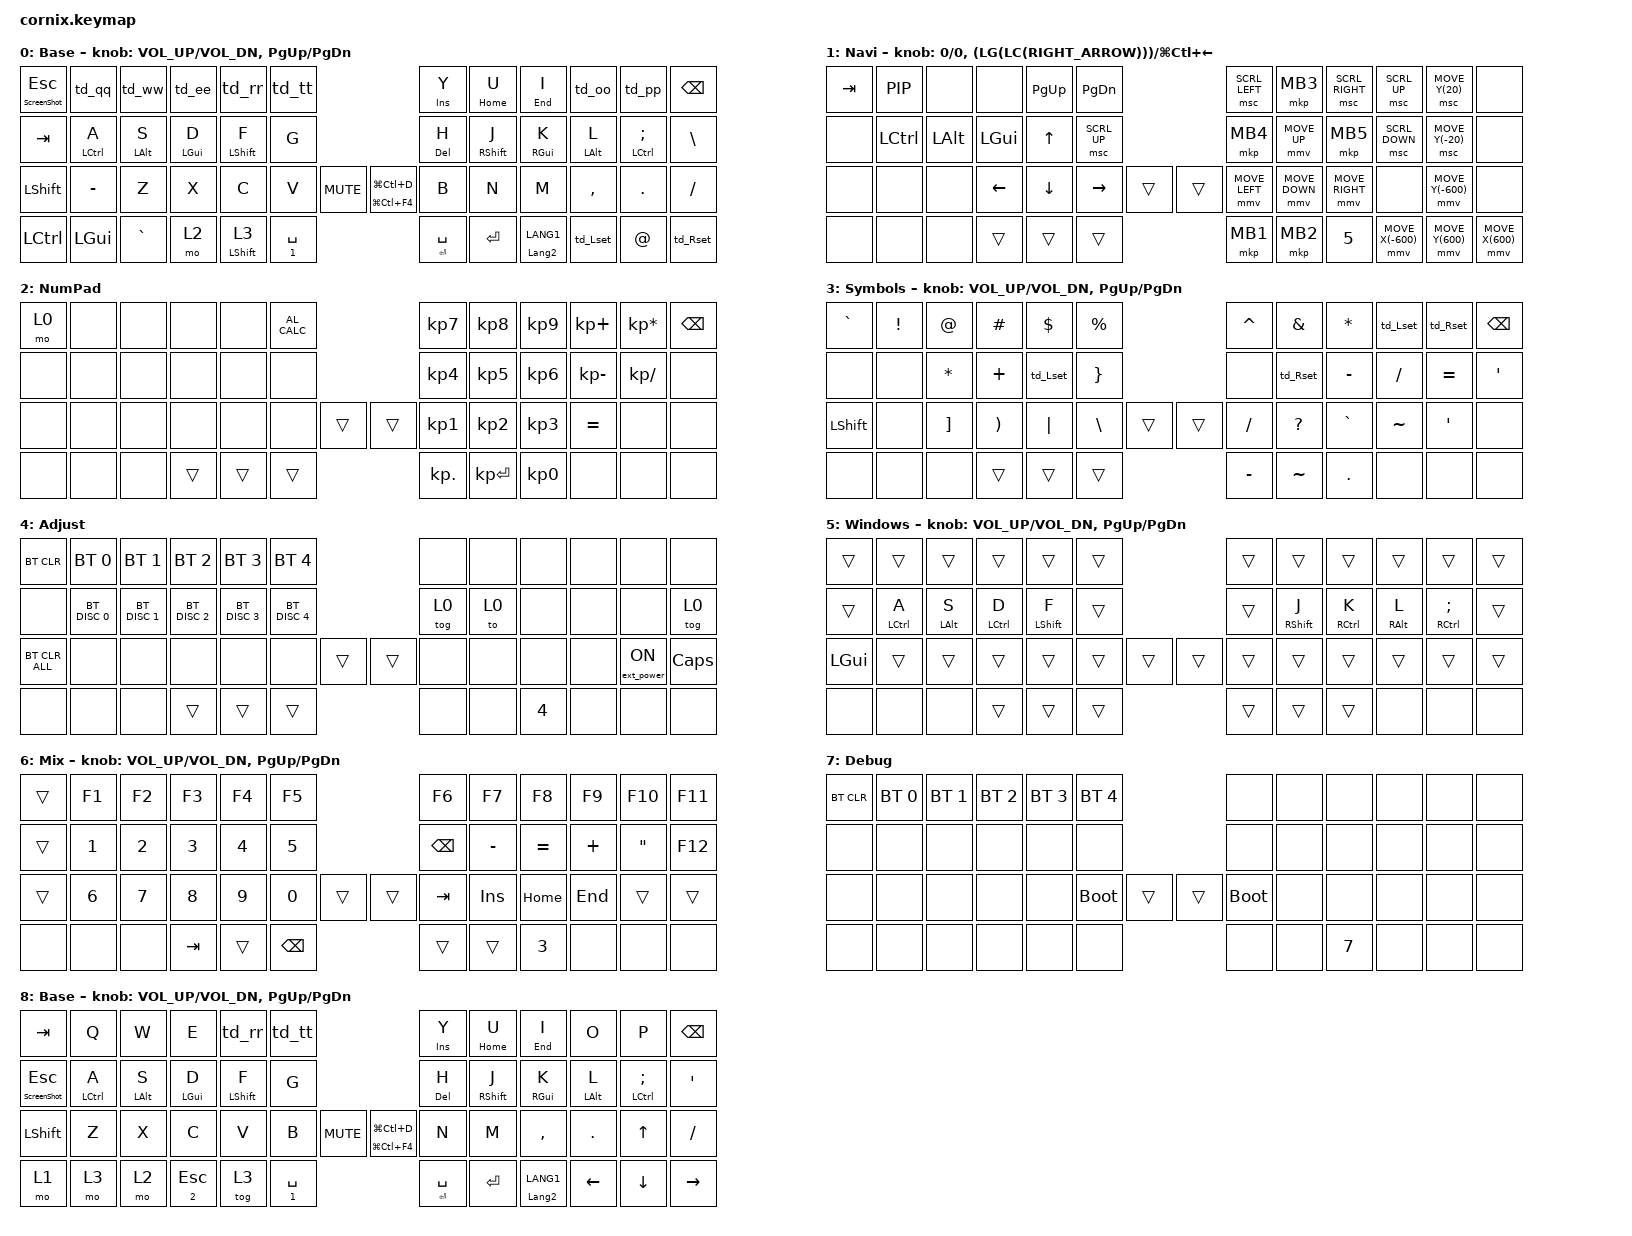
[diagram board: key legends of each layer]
/*
 * Copyright (c) 2020 The ZMK Contributors
 *
 * SPDX-License-Identifier: MIT
 */

#include "zmk-helpers/helper.h"
#include "includes/cornix54.h"

// tap windows for ctl alt and gui

#define HM_TAPPING_TERM 250
#define HM_TAPPING_REPEAT 210

// quick tapping for shift

#define HM_TAPPING_TERM_FAST 200
#define HM_PRIOR_IDLE 70
#define BASE 0
#define WIN 1
#define LOWER 2
#define RAISE 3
#define ADJUST 4
#define NAVI   5
#define NUM    6
#define DEBUG  7

// https://github.com/urob/zmk-config/tree/main#timeless-homerow-mods

#define KEYS_L LT0 LT1 LT2 LT3 LT4 LT5 LM0 LM1 LM2 LM3 LM4 LM5 LB0 LB1 LB2 LB3 LB4 LB5  // left hand
#define KEYS_R RT0 RT1 RT2 RT3 RT4 RT5 RM0 RM1 RM2 RM3 RM4 RM5 RB0 RB1 RB2 RB3 RB4 RB5  // right hand
#define THUMBS LH1 LH0 RH0 RH1
#define KEYS_T LH1 LH0 RH0 RH1
#define ZMK_POINTING_DEFAULT_MOVE_VAL 1200
#define ZMK_POINTING_DEFAULT_SCRL_VAL 15

#include <behaviors.dtsi>
#include <dt-bindings/zmk/bt.h>
#include <dt-bindings/zmk/ext_power.h>
#include <dt-bindings/zmk/keys.h>
#include <dt-bindings/zmk/pointing.h>

/ {
    // Activate ADJUST layer by pressing raise and lower

    behaviors {
        hm_l: homerow_mods_left {
            compatible = "zmk,behavior-hold-tap";
            #binding-cells = <2>;
            bindings = <&kp>, <&kp>;

            flavor = "balanced";
            tapping-term-ms = <HM_TAPPING_TERM>;
            quick-tap-ms = <200>;                // repeat on tap-into-hold
            require-prior-idle-ms = <200>;
            hold-trigger-on-release;
        };

        hm_r: homerow_mods_right {
            compatible = "zmk,behavior-hold-tap";
            #binding-cells = <2>;
            bindings = <&kp>, <&kp>;

            flavor = "balanced";
            tapping-term-ms = <HM_TAPPING_TERM>;
            quick-tap-ms = <200>;
            require-prior-idle-ms = <200>;
            hold-trigger-key-positions = <KEYS_L KEYS_T>;
            hold-trigger-on-release;
        };

        // Positional Homerow mods for shift
        // Use faster tapping term and disable some features that may
        // cause false negatives.

        hm_shift_l: hm_shift_l {
            compatible = "zmk,behavior-hold-tap";
            #binding-cells = <2>;
            bindings = <&kp>, <&kp>;

            //flavor = "balanced";

            flavor = "balanced";
            tapping-term-ms = <HM_TAPPING_TERM_FAST>;
            quick-tap-ms = <200>;
            require-prior-idle-ms = <200>;
            hold-trigger-key-positions = <KEYS_R KEYS_T>;
            hold-trigger-on-release;
            retro-tap;
        };

        hm_shift_r: hm_shift_r {
            compatible = "zmk,behavior-hold-tap";
            #binding-cells = <2>;
            bindings = <&kp>, <&kp>;

            flavor = "balanced";
            tapping-term-ms = <HM_TAPPING_TERM_FAST>;
            quick-tap-ms = <200>;
            require-prior-idle-ms = <200>;
            hold-trigger-key-positions = <KEYS_L KEYS_T>;

            // for quick tapping; shift+~

            hold-trigger-on-release;
            retro-tap;
        };

        /*
         * Non-Positional Homerow Mods
         * Used for &mm_grescm_gui behavior on left hand.
         *
         * Usage: &hm LSHFT T
         * Tap: T
         * Tap-Tap-Hold: Repeat T
         * Hold: LSHIFT
         */

        hm: homerow_mods {
            compatible = "zmk,behavior-hold-tap";
            #binding-cells = <2>;
            bindings = <&kp>, <&kp>;

            flavor = "balanced";
            tapping-term-ms = <HM_TAPPING_TERM>;
            quick-tap-ms = <200>;
            require-prior-idle-ms = <200>;
            hold-trigger-on-release;
        };

        lt: layer_tap {
            compatible = "zmk,behavior-hold-tap";
            #binding-cells = <2>;
            bindings = <&mo>, <&kp>;

            flavor = "hold-preferred";
            tapping-term-ms = <HM_TAPPING_TERM>;
            quick-tap-ms = <200>;
        };

        hm_screen: hm_screen {
            compatible = "zmk,behavior-hold-tap";
            label = "HM_SCREEN";
            bindings = <&ScreenShot>, <&kp>;

            #binding-cells = <2>;
            quick-tap-ms = <200>;
            tapping-term-ms = <200>;
            flavor = "balanced";
            require-prior-idle-ms = <200>;
            hold-trigger-on-release;
        };

        flip_toggle: flip_toggle {
            compatible = "zmk,behavior-key-toggle";
            label = "FLIP_TOGGLE";
            #binding-cells = <1>;
            toggle-mode = "flip";
        };

        hm_flip_layer: hm_flip_layer {
            compatible = "zmk,behavior-hold-tap";
            label = "HM_FLIP_LAYER";
            #binding-cells = <2>;
            quick-tap-ms = <200>;
            tapping-term-ms = <200>;
            bindings = <&flip_layer>, <&kp>;

            require-prior-idle-ms = <200>;
            hold-trigger-on-release;
            flavor = "balanced";
        };

        flip_layer: flip_layer {
            compatible = "zmk,behavior-toggle-layer";
            label = "FLIP_LAYER";
            #binding-cells = <1>;
            toggle-mode = "flip";
        };

        hm_sl: hm_sl {
            compatible = "zmk,behavior-hold-tap";
            label = "HM_SL";
            bindings = <&kp>, <&sl>;

            #binding-cells = <2>;
            tapping-term-ms = <200>;
            quick-tap-ms = <200>;
            retro-tap;
            require-prior-idle-ms = <200>;
            hold-trigger-on-release;
            flavor = "balanced";
        };

        td_qq: td_qq {
            compatible = "zmk,behavior-tap-dance";
            label = "TD_QQ";
            #binding-cells = <0>;
            bindings = <&kp Q>, <&kp LS(Q)>;
        };

        td_ww: td_ww {
            compatible = "zmk,behavior-tap-dance";
            label = "TD_WW";
            #binding-cells = <0>;
            bindings = <&kp W>, <&kp LS(W)>;
        };

        td_rr: td_rr {
            compatible = "zmk,behavior-tap-dance";
            label = "TD_RR";
            #binding-cells = <0>;
            bindings = <&kp R>, <&kp LS(R)>;
        };

        td_tt: td_tt {
            compatible = "zmk,behavior-tap-dance";
            label = "TD_TT";
            #binding-cells = <0>;
            bindings = <&kp T>, <&kp LS(T)>;
        };

        td_ee: td_ee {
            compatible = "zmk,behavior-tap-dance";
            label = "TD_EE";
            #binding-cells = <0>;
            bindings = <&kp E>, <&kp LS(E)>;
        };

        td_oo: td_oo {
            compatible = "zmk,behavior-tap-dance";
            label = "TD_OO";
            #binding-cells = <0>;
            bindings = <&kp O>, <&kp LS(O)>;
        };

        td_pp: td_pp {
            compatible = "zmk,behavior-tap-dance";
            label = "TD_PP";
            #binding-cells = <0>;
            bindings = <&kp P>, <&kp LS(P)>;
        };

        td_Lset: td_Lset {
            compatible = "zmk,behavior-tap-dance";
            label = "TD_LSET";
            #binding-cells = <0>;
            bindings = <&kp LPAR>, <&kp LBRC>, <&kp LEFT_BRACKET>;
        };

        td_Rset: td_Rset {
            compatible = "zmk,behavior-tap-dance";
            label = "TD_RSET";
            #binding-cells = <0>;
            bindings = <&kp RPAR>, <&kp RBRC>, <&kp RBKT>;
        };

        hm_mo_layer: hm_mo_layer {
            compatible = "zmk,behavior-hold-tap";
            label = "HM_MO_LAYER";
            bindings = <&mo>, <&kp>;

            #binding-cells = <2>;
            tapping-term-ms = <200>;
            quick-tap-ms = <200>;
            retro-tap;
        };
    };

    conditional_layers {
        compatible = "zmk,conditional-layers";

        adjust_layer {
            if-layers = <1 2>;
            then-layer = <4>;
        };
    };

    combos {
        compatible = "zmk,combos";

        cb_ltm {
            bindings = <&kp ESC>;
            key-positions = <2 4>;
            layers = <0 6>;
        };

        cb_lm {
            bindings = <&kp TAB>;
            key-positions = <14 16>;
            layers = <0 6>;
        };

        cb_enter {
            bindings = <&kp RET>;
            key-positions = <21 19>;
            layers = <0 6>;
        };

        layer4 {
            bindings = <&tog 4>;
            key-positions = <30 31>;
            layers = <0 1 2 3>;
        };

        alt_f4 {
            bindings = <&kp LA(F4)>;
            key-positions = <43 44>;
            layers = <0>;
        };
    };

    macros {
        KeyMap: KeyMap {
            compatible = "zmk,behavior-macro";
            #binding-cells = <0>;
            bindings = <&kp H &kp T &kp T &kp P &kp S &kp COLON &kp FSLH &kp FSLH &kp N &kp I &kp C &kp K &kp C &kp O &kp U &kp T &kp S &kp O &kp S &kp DOT &kp G &kp I &kp T &kp H &kp U &kp B &kp DOT &kp I &kp O &kp FSLH &kp K &kp E &kp Y &kp M &kp A &kp P &kp MINUS &kp E &kp D &kp I &kp T &kp O &kp R &kp FSLH>;
            label = "KEY_MAP";
        };

        ScreenShot: ScreenShot {
            compatible = "zmk,behavior-macro";
            #binding-cells = <0>;
            bindings = <&kt LG(LS(S))>;
            label = "SCREENSHOT";
        };
    };

    keymap {
        compatible = "zmk,keymap";

        default_layer {
            display-name = "Base";

            // ------------------------------------------------------------------------------------------------------------
            // |   `   |  1  |  2  |  3   |  4   |  5   |                   |  6   |  7    |  8    |  9   |   0   |       |
            // |  ESC  |  Q  |  W  |  E   |  R   |  T   |                   |  Y   |  U    |  I    |  O   |   P   | BKSPC |
            // |  TAB  |  A  |  S  |  D   |  F   |  G   |                   |  H   |  J    |  K    |  L   |   ;   |   '   |
            // | SHIFT |  Z  |  X  |  C   |  V   |  B   |  MUTE  |  |       |  N   |  M    |  ,    |  .   |   /   | SHIFT |
            //               | GUI | ALT  | CTRL | LOWER|  ENTER |  | SPACE | RAISE| CTRL  | ALT   | GUI  |

            bindings = <
&hm_screen 0 ESCAPE  &td_qq               &td_ww              &td_ee        &td_rr               &td_tt                                                        &hm INSERT Y     &hm HOME U           &hm END I             &td_oo                  &td_pp                              &kp BACKSPACE
&kp TAB              &hm_shift_l LCTRL A  &hm_shift_l LALT S  &hm_l LGUI D  &hm_shift_l LSHFT F  &kp G                                                         &hm DELETE H     &hm_shift_r RSHFT J  &hm_r RGUI K          &hm_shift_r LEFT_ALT L  &hm_shift_r LEFT_CONTROL SEMICOLON  &kp BACKSLASH
&kp LEFT_SHIFT       &kp MINUS            &kp Z               &kp X         &kp C                &kp V                   &kp C_MUTE  &hm LG(LC(F4)) LG(LC(D))  &kp B            &kp N                &kp M                 &kp COMMA               &kp DOT                             &kp SLASH
&kp LCTRL            &kp LEFT_GUI         &kp GRAVE           &mo 2         &hm_sl LEFT_SHIFT 3  &hm_flip_layer 1 SPACE                                        &hm ENTER SPACE  &kp ENTER            &hm LANGUAGE_2 LANG1  &td_Lset                &kp AT                              &td_Rset
            >;

            sensor-bindings = <&inc_dec_kp C_VOL_UP C_VOL_DN &inc_dec_kp PG_UP PG_DN>;
        };

        Navi_layer {
            display-name = "Navi";
            bindings = <
&kp TAB  &kp C_PIP         &none         &none           &kp PAGE_UP     &kp PAGE_DOWN                    &msc SCRL_LEFT  &mkp MB3        &msc SCRL_RIGHT  &msc SCRL_UP       &msc MOVE_Y(20)    &none
&none    &kp LEFT_CONTROL  &kp LEFT_ALT  &kp LEFT_GUI    &kp UP_ARROW    &msc SCRL_UP                     &mkp MB4        &mmv MOVE_UP    &mkp MB5         &msc SCRL_DOWN     &msc MOVE_Y(-20)   &none
&none    &none             &none         &kp LEFT_ARROW  &kp DOWN_ARROW  &kp RIGHT_ARROW  &trans  &trans  &mmv MOVE_LEFT  &mmv MOVE_DOWN  &mmv MOVE_RIGHT  &none              &mmv MOVE_Y(-600)  &none
&none    &none             &none         &trans          &trans          &trans                           &mkp MB1        &mkp MB2        &kp N5           &mmv MOVE_X(-600)  &mmv MOVE_Y(600)   &mmv MOVE_X(600)
            >;

            sensor-bindings =
                <&inc_dec_kp 0 0>,
                <&inc_dec_kp (LG(LC(RIGHT_ARROW))) LG(LC(LEFT_ARROW))>;
        };

        KeyPad_layer {
            display-name = "NumPad";
            bindings = <
&mo 0  &none  &none  &none   &none   &kp C_AL_CALC                  &kp KP_N7        &kp KP_N8        &kp KP_N9        &kp KP_PLUS   &kp KP_MULTIPLY  &kp BACKSPACE
&none  &none  &none  &none   &none   &none                          &kp KP_NUMBER_4  &kp KP_NUMBER_5  &kp KP_N6        &kp KP_MINUS  &kp KP_DIVIDE    &none
&none  &none  &none  &none   &none   &none          &trans  &trans  &kp KP_NUMBER_1  &kp KP_NUMBER_2  &kp KP_N3        &kp EQUAL     &none            &none
&none  &none  &none  &trans  &trans  &trans                         &kp KP_DOT       &kp KP_ENTER     &kp KP_NUMBER_0  &none         &none            &none
            >;
        };

        Symbol_layer {
            display-name = "Symbols";

            // TODO: Some binds are waiting for shifted keycode support.
            // -------------------------------
            // |       |  F1 |  F2 |  F3  |  F4  |  F5  |                   |  F6  |  F7   |  F8   |  F9  |  F10  |  F11  |
            // |   `   |  1  |  2  |  3   |  4   |  5   |                   |  6   |  7    |  8    |  9   |   0   |  F12  |
            // |       |  !  |  @  |  #   |  $   |  %   |                   |  ^   |  &    |  *    |  (   |   )   |   |   |
            // |       |  =  |  -  |  +   |  {   |  }   |        |  |       |  [   |  ]    |  ;    |  :   |   \   |       |
            //               |     |      |      |      |        |  |       |      |       |       |      |

            bindings = <
&kp GRAVE       &kp EXCL  &kp AT    &kp HASH  &kp DLLR  &kp PRCNT                  &kp CARET  &kp AMPS      &kp ASTRK  &td_Lset   &td_Rset   &kp BACKSPACE
&none           &none     &kp STAR  &kp PLUS  &td_Lset  &kp RBRC                   &none      &td_Rset      &kp MINUS  &kp SLASH  &kp EQUAL  &kp SQT
&kp LEFT_SHIFT  &none     &kp RBKT  &kp RPAR  &kp PIPE  &kp BSLH   &trans  &trans  &kp FSLH   &kp QUESTION  &kp GRAVE  &kp TILDE  &kp SQT    &none
&none           &none     &none     &trans    &trans    &trans                     &kp MINUS  &kp TILDE     &kp DOT    &none      &none      &none
            >;

            sensor-bindings = <&inc_dec_kp C_VOL_UP C_VOL_DN &inc_dec_kp PG_UP PG_DN>;
        };

        Adjust_layer {
            display-name = "Adjust";

            // ----------------------------------------------------------------------------------------------------------------------------
            // | BTCLR  |  BT1    |  BT2    |   BT3   |   BT4   |   BT5   |                  |      |      |       |      |       |       |
            // | moDEBUG| RGB_HUD | RGB_HUI | RGB_SAD | RGB_SAI | RGB_EFF |                  |      |      |       |      |       |       |
            // | EXTPWR | RGB_BRD | RGB_BRI |         |         |         |                  |      |      |       |      |       |       |
            // |        |         |         |         |         |         | RGB_TOG | |      |      |      |       |      |       |       |
            //                    |         |         |         |         |         | |      |      |      |       |      |

            bindings = <
&bt BT_CLR      &bt BT_SEL 0   &bt BT_SEL 1   &bt BT_SEL 2   &bt BT_SEL 3   &bt BT_SEL 4                   &none   &none  &none   &none  &none             &none
&none           &bt BT_DISC 0  &bt BT_DISC 1  &bt BT_DISC 2  &bt BT_DISC 3  &bt BT_DISC 4                  &tog 0  &to 0  &none   &none  &none             &tog 0
&bt BT_CLR_ALL  &none          &none          &none          &none          &none          &trans  &trans  &none   &none  &none   &none  &ext_power EP_ON  &kp CAPSLOCK
&none           &none          &none          &trans         &trans         &trans                         &none   &none  &kp N4  &none  &none             &none
            >;
        };

        win_layer {
            display-name = "Windows";

            // ------------------------------------------------------------------------------------------------------------
            // |   `   |  1  |  2  |  3   |  4   |  5   |                   |  6   |  7    |  8    |  9   |   0   |       |
            // |  ESC  |  Q  |  W  |  E   |  R   |  T   |                   |  Y   |  U    |  I    |  O   |   P   | BKSPC |
            // |  TAB  |  A  |  S  |  D   |  F   |  G   |                   |  H   |  J    |  K    |  L   |   ;   |   '   |
            // | SHIFT |  Z  |  X  |  C   |  V   |  B   |  MUTE  |  |       |  N   |  M    |  ,    |  .   |   /   | SHIFT |
            //               | GUI | ALT  | CTRL | LOWER|  ENTER |  | SPACE | RAISE| CTRL  | ALT   | GUI  |

            bindings = <
&trans    &trans         &trans        &trans         &trans               &trans                  &trans  &trans               &trans         &trans        &trans            &trans
&trans    &hm_l LCTRL A  &hm_l LALT S  &hm_l LCTRL D  &hm_shift_l LSHFT F  &trans                  &trans  &hm_shift_r RSHFT J  &hm_r RCTRL K  &hm_r RALT L  &hm_r RCTRL SEMI  &trans
&kp LGUI  &trans         &trans        &trans         &trans               &trans  &trans  &trans  &trans  &trans               &trans         &trans        &trans            &trans
&none     &none          &none         &trans         &trans               &trans                  &trans  &trans               &trans         &none         &none             &none
            >;

            sensor-bindings = <&inc_dec_kp C_VOL_UP C_VOL_DN &inc_dec_kp PG_UP PG_DN>;
        };

        Mix_layer {
            display-name = "Mix";

            // ------------------------------------------------------------------------------------------------------------
            // | BTCLR | BT1  | BT2  |  BT3  |  BT4  |  BT5 |                |      |      |       |      |       |       |
            // |       | INS  | PSCR | GUI   |       |      |                | PGUP |      |   ^   |      |       |       |
            // |       | ALT  | CTRL | SHIFT |       | CAPS |                | PGDN |   <- |   v   |  ->  |  DEL  | BKSPC |
            // |       | UNDO | CUT  | COPY  | PASTE |      |      |  |      |      |      |       |      |       |       |
            //                |      |       |       |      |      |  |      |      |      |       |      |

            bindings = <
&trans  &kp F1  &kp F2  &kp F3   &kp F4  &kp F5                         &kp F6    &kp F7     &kp F8     &kp F9    &kp F10  &kp F11
&trans  &kp N1  &kp N2  &kp N3   &kp N4  &kp N5                         &kp BSPC  &kp MINUS  &kp EQUAL  &kp PLUS  &kp DQT  &kp F12
&trans  &kp N6  &kp N7  &kp N8   &kp N9  &kp N0         &trans  &trans  &kp TAB   &kp INS    &kp HOME   &kp END   &trans   &trans
&none   &none   &none   &kp TAB  &trans  &kp BACKSPACE                  &trans    &trans     &kp N3     &none     &none    &none
            >;

            sensor-bindings = <&inc_dec_kp C_VOL_UP C_VOL_DN &inc_dec_kp PG_UP PG_DN>;
        };

        Debug_layer {
            display-name = "Debug";

            // ----------------------------------------------------------------------------------------------------------------------------
            // | BTCLR  |  BT1    |  BT2    |   BT3   |   BT4   |   BT5   |                  |      |      |       |      |       |       |
            // | EXTPWR | BTCLR | RGB_HUI | RGB_SAD | RGB_SAI | RGB_EFF |                  |      |      |       |      |       |       |
            // |        | RGB_BRD | RGB_BRI |         |         |         |                  |      |      |       |      |       |       |
            // |        |         |         |         |         |         | RGB_TOG | |      |      |      |       |      |       |       |
            //                    |         |         |         |         |         | |      |      |      |       |      |

            bindings = <
&bt BT_CLR  &bt BT_SEL 0  &bt BT_SEL 1  &bt BT_SEL 2  &bt BT_SEL 3  &bt BT_SEL 4                  &none        &none  &none   &none  &none  &none
&none       &none         &none         &none         &none         &none                         &none        &none  &none   &none  &none  &none
&none       &none         &none         &none         &none         &bootloader   &trans  &trans  &bootloader  &none  &none   &none  &none  &none
&none       &none         &none         &none         &none         &none                         &none        &none  &kp N7  &none  &none  &none
            >;
        };

        defaultback {
            display-name = "Base";
            bindings = <
&kp TAB              &kp Q                &kp W               &kp E                    &td_rr               &td_tt                                                        &hm INSERT Y     &hm HOME U           &hm END I             &kp O                   &kp P                          &kp BACKSPACE
&hm_screen 0 ESCAPE  &hm_shift_l LCTRL A  &hm_shift_l LALT S  &hm_l LGUI D             &hm_shift_l LSHFT F  &kp G                                                         &hm DELETE H     &hm_shift_r RSHFT J  &hm_r RGUI K          &hm_shift_r LEFT_ALT L  &hm_shift_r LEFT_CONTROL SEMI  &kp SQT
&kp LEFT_SHIFT       &kp Z                &kp X               &kp C                    &kp V                &kp B                   &kp C_MUTE  &hm LG(LC(F4)) LG(LC(D))  &kp N            &kp M                &kp COMMA             &kp DOT                 &kp UP_ARROW                   &kp SLASH
&mo 1                &mo 3                &mo 2               &hm_flip_layer 2 ESCAPE  &tog 3               &hm_flip_layer 1 SPACE                                        &hm ENTER SPACE  &kp ENTER            &hm LANGUAGE_2 LANG1  &kp LEFT_ARROW          &kp DOWN_ARROW                 &kp RIGHT_ARROW
            >;

            sensor-bindings =
                <&inc_dec_kp C_VOL_UP C_VOL_DN>,
                <&inc_dec_kp PG_UP PG_DN>;
        };
    };
};
